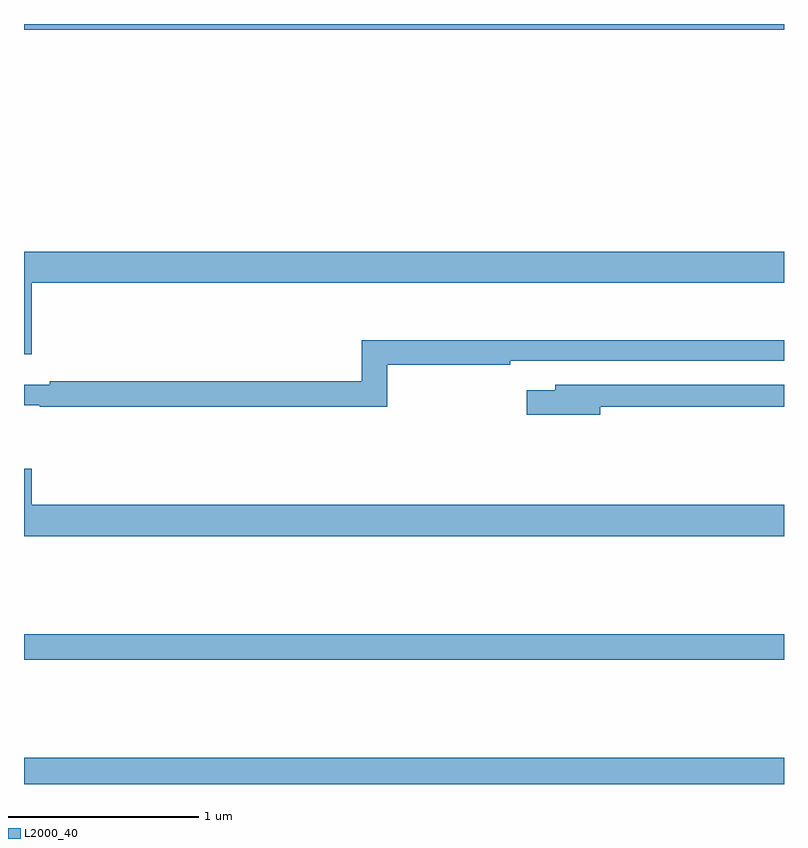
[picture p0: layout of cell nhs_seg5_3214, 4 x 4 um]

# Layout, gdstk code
import gdstk
lib = gdstk.Library(unit=1e-6, precision=1e-09)
def R(c, l, rs):  # rectangles x0, y0, x1, y1
    for r in rs: c.add(gdstk.rectangle(r[:2], r[2:], *l))
def P(c, l, *ps):  # polygons
    for p in ps: c.add(gdstk.Polygon(p, *l))
L2000_40 = (2000, 40)

nhs_seg5_3214 = lib.new_cell('nhs_seg5_3214')
R(nhs_seg5_3214, L2000_40, [(297,844.799,301,844.936), (297,845.452,301,845.588), (297,848.768,301,848.799)])
P(nhs_seg5_3214, L2000_40, [(297.04,847.436),(301,847.436),(301,847.6),(297,847.6),(297,847.062),(297.04,847.062)],
  [(298.913,847.006),(299.558,847.006),(299.558,847.026),(301,847.026),(301,847.135),(298.777,847.135),(298.777,846.92),(297.136,846.92),(297.136,846.901),(297,846.901),(297,846.792),(297.082,846.792),(297.082,846.784),(298.913,846.784)],
  [(300.034,846.784),(301,846.784),(301,846.9),(299.795,846.9),(299.795,846.871),(299.646,846.871),(299.646,846.742),(300.034,846.742)],
  [(301,846.268),(297.04,846.268),(297.04,846.457),(297,846.457),(297,846.104),(301,846.104)])

lib.write_gds('nhs_seg5_3214.gds')
